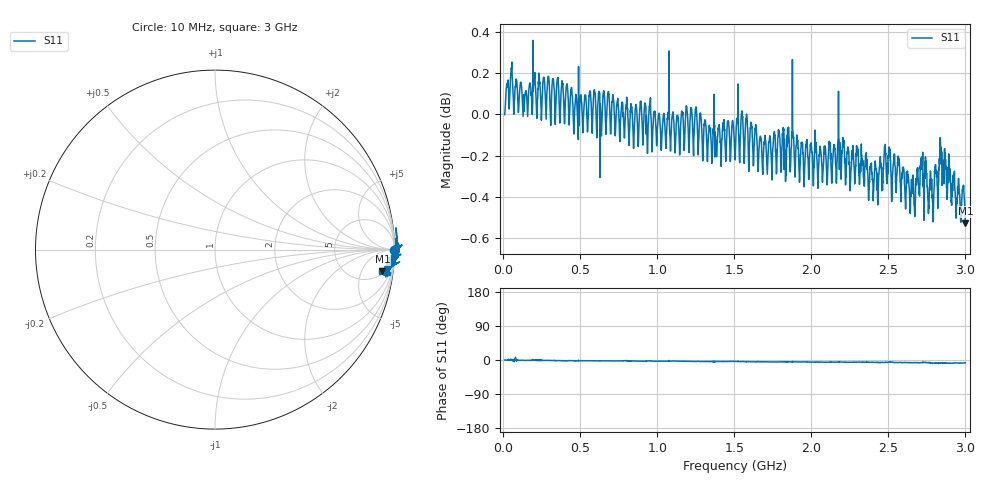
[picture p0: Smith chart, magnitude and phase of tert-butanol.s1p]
# HZ S RI R 50
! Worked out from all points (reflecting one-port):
!   2020 points, 10 MHz to 3 GHz, reference 50 ohm
!   lowest |S11| = -0.5 dB at 3 GHz (marker M1), VSWR 32.85, Z = 301 - j633 ohm
!   phase of S11 starts at -0 deg and turns -7 deg over the sweep
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1e7  0.9998 -0.000882
4.258048e7  1.011 0.00938
5.887072e7  1.022 -0.0312
8.997027e7  1.018 -0.03
9.737493e7  1.005 -0.00469
1.506884e8  1.012 -0.0177
1.980782e8  1.017 -0.00253
2.24735e8  1.009 -0.0229
3.846755e8  1.018 -0.0307
7.578702e8  0.984 -0.0397
9.133679e8  0.9943 -0.0566
9.474293e8  1.001 -0.0441
1.132546e9  0.9982 -0.0493
1.29841e9  0.9791 -0.0678
1.50574e9  0.9727 -0.0651
1.628658e9  0.9785 -0.0827
1.878935e9  0.9882 -0.086
2.25361e9  0.9577 -0.0945
2.326176e9  0.9721 -0.0993
2.449093e9  0.9694 -0.1118
2.515735e9  0.9646 -0.0898
2.626805e9  0.9602 -0.1135
2.705294e9  0.9533 -0.1239
2.736394e9  0.9686 -0.1001
2.792669e9  0.9385 -0.1364
2.850426e9  0.9526 -0.13
2.897815e9  0.957 -0.1437
3e9  0.9331 -0.1209
